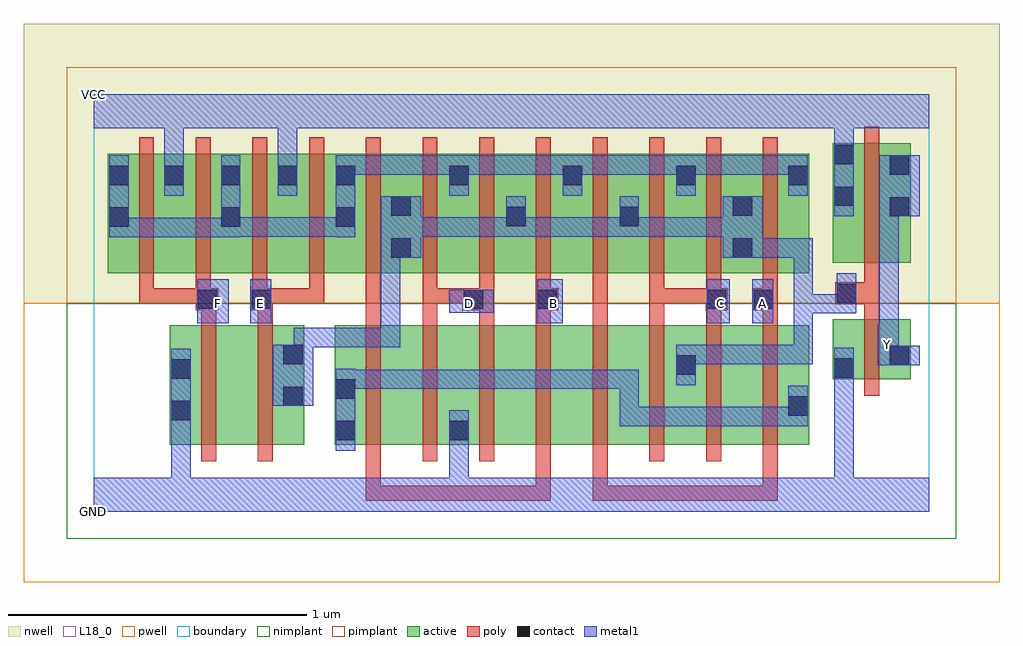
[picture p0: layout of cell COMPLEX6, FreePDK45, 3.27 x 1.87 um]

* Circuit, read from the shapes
.subckt COMPLEX6 A B C D E F GND VCC Y
M1 n1 F GND VSUBS nfet w=0.4u l=0.05u
M2 n2 E n1 VSUBS nfet w=0.4u l=0.05u
M3 n3 B n4 VSUBS nfet w=0.4u l=0.05u
M4 GND D n3 VSUBS nfet w=0.4u l=0.05u
M5 n5 D GND VSUBS nfet w=0.4u l=0.05u
M6 n6 B n5 VSUBS nfet w=0.4u l=0.05u
M7 n7 A n6 VSUBS nfet w=0.4u l=0.05u
M8 n2 C n7 VSUBS nfet w=0.4u l=0.05u
M9 n8 C n2 VSUBS nfet w=0.4u l=0.05u
M10 n4 A n8 VSUBS nfet w=0.4u l=0.05u
M11 Y n2 GND VSUBS nfet w=0.2u l=0.05u
M12 VCC F n9 n10 pfet w=0.4u l=0.05u m=2
M13 VCC E n9 n10 pfet w=0.4u l=0.05u m=2
M14 n2 B n9 n10 pfet w=0.4u l=0.05u m=2
M15 n9 D n2 n10 pfet w=0.4u l=0.05u m=2
M16 n2 A n9 n10 pfet w=0.4u l=0.05u m=2
M17 n9 C n2 n10 pfet w=0.4u l=0.05u m=2
M18 Y n2 VCC n10 pfet w=0.4u l=0.05u
.ends

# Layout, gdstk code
import gdstk
lib = gdstk.Library(unit=1e-6, precision=1e-09)
def R(c, l, rs):  # rectangles x0, y0, x1, y1
    for r in rs: c.add(gdstk.rectangle(r[:2], r[2:], *l))
def A(c, l, x, y, w, h, nx, ny, dx, dy):  # array of equal rectangles
    R(c, l, [(x+i*dx, y+j*dy, x+i*dx+w, y+j*dy+h) for i in range(nx) for j in range(ny)])
active = (1, 0)
pwell = (2, 0)
nwell = (3, 0)
nimplant = (4, 0)
pimplant = (5, 0)
poly = (9, 0)
contact = (10, 0)
metal1 = (11, 0)
L18_0 = (18, 0)
boundary = (235, 0)

complex6 = lib.new_cell('COMPLEX6')
A(complex6, active, 1.187, 0.8, 0.265, 0.4, 5, 1, 0.19, 0)
A(complex6, active, 1.377, 0.8, 0.075, 0.27, 3, 1, 0.38, 0)
R(complex6, active, [(0.255,0.225,0.48,0.625), (0.255,0.225,0.33,0.625), (0.48,0.225,0.705,0.625), (0.63,0.225,0.705,0.625), (0.807,0.225,1.032,0.625), (0.807,0.225,0.882,0.625), (1.032,0.225,1.262,0.625), (1.187,0.225,1.412,0.625), (1.187,0.225,1.262,0.617), (1.412,0.225,1.602,0.625), (1.602,0.225,1.792,0.625), (1.792,0.225,2.022,0.625), (1.947,0.225,2.172,0.625), (2.172,0.225,2.397,0.625), (1.947,0.245,2.022,0.617), (2.322,0.245,2.397,0.537), (2.477,0.445,2.552,0.645), (2.477,0.445,2.737,0.645), (2.662,0.445,2.737,0.645), (0.047,0.8,0.122,1.2), (0.047,0.8,0.307,1.2), (0.232,0.8,0.497,1.2), (0.422,0.8,0.497,1.2), (0.422,0.8,0.687,1.2), (0.612,0.8,0.882,1.2), (0.807,0.8,1.067,1.2), (0.807,0.8,0.882,1.19), (0.992,0.8,1.067,1.07), (0.992,0.8,1.262,1.2), (2.137,0.8,2.397,1.2), (0.612,0.802,0.687,1.165), (2.477,0.835,2.552,1.235), (2.477,0.835,2.737,1.235), (2.662,0.835,2.737,1.2), (1.567,0.847,1.642,1.2), (2.322,0.847,2.397,1.192), (0.232,0.907,0.307,1.165), (1.187,0.907,1.262,1.192), (1.947,0.907,2.022,1.2)])
R(complex6, pwell, [(-0.235,-0.235,3.035,0.7)])
R(complex6, nwell, [(-0.235,0.7,3.035,1.635)])
R(complex6, nimplant, [(-0.09,-0.09,2.89,0.7)])
R(complex6, pimplant, [(-0.09,0.7,2.89,1.49)])
A(complex6, poly, 0.912, 0.17, 0.05, 0.51, 8, 1, 0.19, 0)
A(complex6, poly, 1.292, 0.63, 0.05, 0.095, 3, 1, 0.19, 0)
A(complex6, poly, 0.152, 0.7, 0.05, 0.095, 4, 1, 0.19, 0)
A(complex6, poly, 1.102, 0.7, 0.05, 0.095, 3, 1, 0.19, 0)
A(complex6, poly, 1.862, 0.7, 0.05, 0.095, 3, 1, 0.19, 0)
A(complex6, poly, 0.152, 0.745, 0.05, 0.51, 12, 1, 0.19, 0)
R(complex6, poly, [(0.912,0.037,0.962,0.22), (0.912,0.037,0.962,0.087), (0.912,0.037,1.152,0.087), (1.102,0.037,1.152,0.087), (1.102,0.037,1.152,0.087), (1.102,0.037,1.152,0.087), (1.102,0.037,1.285,0.087), (1.235,0.037,1.285,0.087), (1.235,0.037,1.285,0.087), (1.235,0.037,1.285,0.087), (1.235,0.037,1.532,0.087), (1.482,0.037,1.532,0.22), (1.482,0.037,1.532,0.087), (1.482,0.037,1.532,0.087), (1.482,0.037,1.532,0.087), (1.672,0.037,1.722,0.22), (1.672,0.037,1.722,0.087), (1.672,0.037,1.722,0.087), (1.672,0.037,1.722,0.087), (1.672,0.037,1.967,0.087), (1.917,0.037,1.967,0.087), (1.917,0.037,1.967,0.087), (1.917,0.037,1.967,0.087), (1.917,0.037,2.125,0.087), (2.075,0.037,2.125,0.087), (2.075,0.037,2.292,0.087), (2.242,0.037,2.292,0.22), (2.242,0.037,2.292,0.087), (2.242,0.037,2.292,0.087), (2.242,0.037,2.292,0.087), (0.36,0.17,0.41,0.68), (0.55,0.17,0.6,0.68), (2.582,0.39,2.632,0.7), (0.36,0.63,0.41,0.725), (0.55,0.63,0.6,0.725), (0.912,0.63,0.962,0.725), (1.102,0.63,1.152,0.75), (1.862,0.63,1.912,0.75), (2.052,0.63,2.102,0.725), (2.242,0.63,2.292,0.725), (2.582,0.65,2.632,0.745), (0.342,0.675,0.417,0.75), (0.525,0.675,0.6,0.75), (0.912,0.675,0.962,0.725), (0.912,0.675,0.962,0.795), (1.235,0.675,1.342,0.75), (1.482,0.675,1.557,0.75), (1.672,0.675,1.722,0.725), (1.672,0.675,1.722,0.795), (2.05,0.675,2.125,0.75), (2.207,0.675,2.292,0.75), (2.485,0.695,2.632,0.77), (0.152,0.7,0.202,0.75), (0.152,0.7,0.202,0.75), (0.152,0.7,0.202,0.75), (0.152,0.7,0.392,0.75), (0.55,0.7,0.6,0.75), (0.55,0.7,0.6,0.75), (0.55,0.7,0.772,0.75), (0.722,0.7,0.772,0.75), (1.102,0.7,1.152,0.75), (1.102,0.7,1.285,0.75), (1.235,0.7,1.285,0.75), (1.235,0.7,1.285,0.75), (1.862,0.7,1.912,0.75), (1.862,0.7,1.912,0.75), (1.862,0.7,1.912,0.75), (1.862,0.7,2.1,0.75), (2.582,0.72,2.632,0.83), (2.582,0.78,2.632,1.29)])
A(complex6, contact, 0.237, 1.095, 0.065, 0.065, 3, 1, 0.19, 0)
A(complex6, contact, 0.812, 1.095, 0.065, 0.065, 4, 1, 0.38, 0)
R(complex6, contact, [(0.812,0.24,0.877,0.305), (1.192,0.24,1.257,0.305), (0.26,0.307,0.325,0.372), (2.327,0.322,2.392,0.387), (0.635,0.355,0.7,0.42), (0.812,0.38,0.877,0.445), (0.26,0.447,0.325,0.512), (2.482,0.45,2.547,0.515), (1.952,0.46,2.017,0.525), (2.667,0.492,2.732,0.557), (0.635,0.495,0.7,0.56), (0.347,0.68,0.412,0.745), (0.53,0.68,0.595,0.745), (1.24,0.68,1.305,0.745), (1.487,0.68,1.552,0.745), (2.055,0.68,2.12,0.745), (2.212,0.68,2.277,0.745), (2.49,0.7,2.555,0.765), (0.997,0.852,1.062,0.917), (2.142,0.852,2.207,0.917), (0.052,0.955,0.117,1.02), (0.427,0.955,0.492,1.02), (0.812,0.955,0.877,1.02), (1.382,0.957,1.447,1.022), (1.762,0.957,1.827,1.022), (2.667,0.99,2.732,1.055), (0.997,0.992,1.062,1.057), (2.142,0.992,2.207,1.057), (2.482,1.025,2.547,1.09), (0.052,1.095,0.117,1.16), (2.327,1.095,2.392,1.16), (2.667,1.13,2.732,1.195), (2.482,1.165,2.547,1.23)])
A(complex6, metal1, 1.192, 1.06, 0.065, 0.135, 3, 1, 0.38, 0)
R(complex6, metal1, [(0,0,2.8,0.115), (0.26,0.05,0.325,0.115), (0.26,0.05,0.325,0.115), (0.26,0.05,0.325,0.337), (1.192,0.05,1.257,0.115), (1.192,0.05,1.257,0.115), (1.192,0.05,1.257,0.27), (2.482,0.05,2.547,0.46), (0.812,0.205,0.877,0.48), (1.192,0.205,1.257,0.34), (0.26,0.272,0.325,0.547), (1.762,0.287,1.827,0.352), (1.762,0.287,1.827,0.352), (1.762,0.287,1.827,0.352), (1.762,0.287,2.017,0.352), (1.762,0.287,1.827,0.477), (1.952,0.287,2.017,0.352), (1.952,0.287,2.017,0.352), (1.952,0.287,2.017,0.352), (1.952,0.287,2.155,0.352), (2.09,0.287,2.155,0.352), (2.09,0.287,2.392,0.352), (2.327,0.287,2.392,0.352), (2.327,0.287,2.392,0.352), (2.327,0.287,2.392,0.422), (0.6,0.355,0.735,0.56), (2.482,0.395,2.547,0.46), (2.482,0.395,2.547,0.46), (2.482,0.395,2.547,0.46), (2.482,0.395,2.547,0.46), (2.482,0.395,2.547,0.48), (0.812,0.412,0.877,0.477), (0.812,0.412,0.877,0.477), (0.812,0.412,1.097,0.477), (1.032,0.412,1.097,0.477), (1.032,0.412,1.097,0.477), (1.032,0.412,1.097,0.477), (1.032,0.412,1.257,0.477), (1.192,0.412,1.257,0.477), (1.192,0.412,1.395,0.477), (1.33,0.412,1.395,0.477), (1.33,0.412,1.395,0.477), (1.33,0.412,1.395,0.477), (1.33,0.412,1.552,0.477), (1.487,0.412,1.552,0.477), (1.487,0.412,1.69,0.477), (1.625,0.412,1.69,0.477), (1.625,0.412,1.69,0.477), (1.625,0.412,1.69,0.477), (1.625,0.412,1.827,0.477), (1.762,0.412,1.827,0.477), (2.482,0.415,2.547,0.48), (2.482,0.415,2.547,0.55), (1.952,0.425,2.017,0.56), (2.627,0.492,2.697,0.627), (2.632,0.492,2.697,0.557), (2.632,0.492,2.767,0.557), (0.67,0.495,0.735,0.56), (0.67,0.495,0.735,0.617), (1.952,0.495,2.017,0.56), (1.952,0.495,2.017,0.56), (1.952,0.495,2.255,0.56), (2.19,0.495,2.255,0.56), (2.19,0.495,2.255,0.56), (2.19,0.495,2.255,0.56), (2.19,0.495,2.41,0.56), (2.345,0.495,2.41,0.56), (2.345,0.495,2.41,0.73), (0.67,0.552,0.735,0.617), (0.67,0.552,0.735,0.617), (0.67,0.552,0.89,0.617), (0.825,0.552,0.89,0.617), (0.825,0.552,0.89,0.617), (0.825,0.552,0.89,0.617), (0.825,0.552,1.027,0.617), (0.962,0.552,1.027,0.617), (0.962,0.552,1.027,0.917), (2.632,0.562,2.697,1.055), (0.347,0.632,0.452,0.78), (0.525,0.632,0.595,0.78), (1.487,0.632,1.572,0.78), (2.055,0.632,2.132,0.78), (2.207,0.632,2.277,0.78), (2.345,0.665,2.41,0.73), (2.345,0.665,2.555,0.73), (2.345,0.665,2.41,0.917), (2.49,0.665,2.555,0.73), (2.49,0.665,2.555,0.73), (2.49,0.665,2.555,0.8), (1.192,0.667,1.34,0.745), (0.962,0.852,1.097,1.057), (2.107,0.852,2.242,1.057), (2.177,0.852,2.242,0.917), (2.177,0.852,2.242,0.917), (2.177,0.852,2.41,0.917), (2.345,0.852,2.41,0.917), (0.052,0.92,0.117,0.985), (0.052,0.92,0.117,0.985), (0.052,0.92,0.117,1.195), (0.052,0.92,0.255,0.985), (0.19,0.92,0.255,0.985), (0.19,0.92,0.255,0.985), (0.19,0.92,0.255,0.985), (0.19,0.92,0.492,0.985), (0.427,0.92,0.492,1.195), (0.812,0.92,0.877,1.195), (0.427,0.922,0.492,0.987), (0.427,0.922,0.492,0.987), (0.427,0.922,0.74,0.987), (0.675,0.922,0.74,0.987), (0.675,0.922,0.74,0.987), (0.675,0.922,0.74,0.987), (0.675,0.922,0.877,0.987), (1.032,0.922,1.097,0.987), (1.032,0.922,1.097,0.987), (1.032,0.922,1.235,0.987), (1.17,0.922,1.235,0.987), (1.17,0.922,1.235,0.987), (1.17,0.922,1.235,0.987), (1.17,0.922,1.447,0.987), (1.382,0.922,1.447,1.057), (1.382,0.922,1.532,0.987), (1.467,0.922,1.532,0.987), (1.467,0.922,1.69,0.987), (1.625,0.922,1.69,0.987), (1.625,0.922,1.69,0.987), (1.625,0.922,1.69,0.987), (1.625,0.922,1.827,0.987), (1.762,0.922,1.827,0.987), (1.762,0.922,1.827,0.987), (1.762,0.922,1.827,1.057), (1.762,0.922,1.987,0.987), (1.922,0.922,1.987,0.987), (1.922,0.922,1.987,0.987), (1.922,0.922,1.987,0.987), (1.922,0.922,2.172,0.987), (2.482,0.99,2.547,1.265), (2.632,0.99,2.767,1.195), (0.237,1.06,0.302,1.195), (0.617,1.06,0.682,1.195), (2.327,1.06,2.392,1.195), (0.237,1.13,0.302,1.35), (0.617,1.13,0.682,1.35), (0.812,1.13,0.877,1.195), (0.812,1.13,0.877,1.195), (0.812,1.13,0.877,1.195), (0.812,1.13,0.877,1.195), (0.812,1.13,1.097,1.195), (1.032,1.13,1.097,1.195), (1.032,1.13,1.097,1.195), (1.032,1.13,1.097,1.195), (1.032,1.13,1.257,1.195), (1.192,1.13,1.257,1.195), (1.192,1.13,1.257,1.195), (1.192,1.13,1.395,1.195), (1.33,1.13,1.395,1.195), (1.33,1.13,1.532,1.195), (1.467,1.13,1.532,1.195), (1.467,1.13,1.637,1.195), (1.572,1.13,1.69,1.195), (1.625,1.13,1.69,1.195), (1.625,1.13,1.85,1.195), (1.785,1.13,1.85,1.195), (1.785,1.13,1.85,1.195), (1.785,1.13,1.85,1.195), (1.785,1.13,2.017,1.195), (1.952,1.13,2.017,1.195), (1.952,1.13,2.017,1.195), (1.952,1.13,2.155,1.195), (2.09,1.13,2.155,1.195), (2.09,1.13,2.392,1.195), (2.327,1.13,2.392,1.195), (2.327,1.13,2.392,1.195), (2.482,1.2,2.547,1.35), (0,1.285,2.8,1.4)])
R(complex6, L18_0, [(0,0,2.8,0.115), (0.26,0.05,0.325,0.115), (0.26,0.05,0.325,0.115), (0.26,0.05,0.325,0.337), (1.192,0.05,1.257,0.115), (1.192,0.05,1.257,0.115), (1.192,0.05,1.257,0.27), (2.482,0.05,2.547,0.46), (1.192,0.205,1.257,0.34), (0.26,0.272,0.325,0.547), (2.482,0.395,2.547,0.46), (2.482,0.395,2.547,0.46), (2.482,0.395,2.547,0.46), (2.482,0.395,2.547,0.46), (2.482,0.395,2.547,0.48), (2.482,0.415,2.547,0.48), (2.482,0.415,2.547,0.55), (2.627,0.492,2.697,0.627), (2.632,0.492,2.697,0.557), (2.632,0.492,2.767,0.557), (2.627,0.527,2.692,0.592), (2.632,0.562,2.697,1.055), (0.347,0.632,0.452,0.78), (0.525,0.632,0.595,0.78), (1.487,0.632,1.572,0.78), (2.055,0.632,2.132,0.78), (2.207,0.632,2.277,0.78), (0.387,0.667,0.452,0.732), (0.527,0.667,0.592,0.732), (1.192,0.667,1.34,0.745), (1.227,0.667,1.292,0.732), (1.507,0.667,1.572,0.732), (2.067,0.667,2.132,0.732), (2.207,0.667,2.272,0.732), (2.482,0.99,2.547,1.265), (2.632,0.99,2.767,1.195), (0.237,1.06,0.302,1.195), (0.617,1.06,0.682,1.195), (0.237,1.13,0.302,1.35), (0.617,1.13,0.682,1.35), (2.482,1.2,2.547,1.35), (0,1.285,2.8,1.4)])
R(complex6, boundary, [(0,0,2.8,1.4)])
complex6.add(gdstk.Label('A', (2.24,0.7), layer=11, texttype=0))
complex6.add(gdstk.Label('B', (1.54,0.7), layer=11, texttype=0))
complex6.add(gdstk.Label('C', (2.1,0.7), layer=11, texttype=0))
complex6.add(gdstk.Label('D', (1.26,0.7), layer=11, texttype=0))
complex6.add(gdstk.Label('E', (0.56,0.7), layer=11, texttype=0))
complex6.add(gdstk.Label('F', (0.42,0.7), layer=11, texttype=0))
complex6.add(gdstk.Label('Y', (2.66,0.56), layer=11, texttype=0))
complex6.add(gdstk.Label('VCC', (0,1.4), layer=11, texttype=0))
complex6.add(gdstk.Label('GND', (0,0), layer=11, texttype=0))

lib.write_gds('COMPLEX6.gds')
